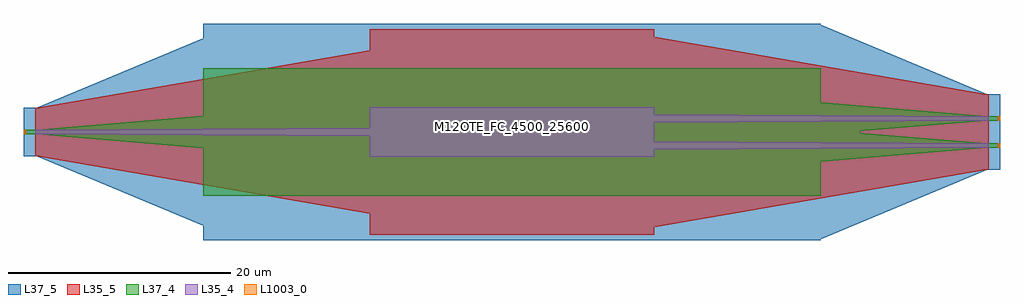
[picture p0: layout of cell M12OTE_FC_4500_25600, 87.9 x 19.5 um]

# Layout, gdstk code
import gdstk
lib = gdstk.Library(unit=1e-6, precision=1e-09)
def R(c, l, rs):  # rectangles x0, y0, x1, y1
    for r in rs: c.add(gdstk.rectangle(r[:2], r[2:], *l))
def P(c, l, *ps):  # polygons
    for p in ps: c.add(gdstk.Polygon(p, *l))
L35_4 = (35, 4)
L35_5 = (35, 5)
L37_4 = (37, 4)
L37_5 = (37, 5)
L1003_0 = (1003, 0)

m12ote_fc_4500_25600_1 = lib.new_cell('M12OTE_FC_4500_25600_1')
R(m12ote_fc_4500_25600_1, L35_4, [(0,-2.25,25.6,2.25)])
P(m12ote_fc_4500_25600_1, L35_4, [(0,-0.375),(-30,-0.19),(-30.13,-0.19),(-30.13,0.19),(-30,0.19),(0,0.375)],
  [(25.6,-1.6),(25.6,-0.85),(55.6,-1.035),(55.73,-1.035),(55.73,-1.415),(55.6,-1.415)],
  [(25.6,0.85),(25.6,1.6),(55.6,1.415),(55.73,1.415),(55.73,1.035),(55.6,1.035)])
R(m12ote_fc_4500_25600_1, L35_5, [(0,-9.25,25.6,9.25)])
P(m12ote_fc_4500_25600_1, L35_5, [(0,-7.375),(-30,-2.19),(-30.13,-2.19),(-30.13,2.19),(-30,2.19),(0,7.375)],
  [(25.6,-8.6),(25.6,6.15),(55.6,0.965),(55.73,0.965),(55.73,-3.415),(55.6,-3.415)],
  [(25.6,-6.15),(25.6,8.6),(55.6,3.415),(55.73,3.415),(55.73,-0.965),(55.6,-0.965)])
R(m12ote_fc_4500_25600_1, L37_4, [(40.47,-0.145,44.171,0.145)])
P(m12ote_fc_4500_25600_1, L37_4, [(-15,-1.45),(-30,-0.19),(-30.13,-0.19),(-30.13,0.19),(-30,0.19),(-15,1.45),(-14.87,1.45),(-14.87,-1.45)],
  [(40.47,-2.675),(40.47,0.225),(40.6,0.225),(55.6,-1.035),(55.73,-1.035),(55.73,-1.415),(55.6,-1.415),(40.6,-2.675)],
  [(40.47,-0.225),(40.47,2.675),(40.6,2.675),(55.6,1.415),(55.73,1.415),(55.73,1.035),(55.6,1.035),(40.6,-0.225)])
P(m12ote_fc_4500_25600_1, L37_5, [(-15,-8.45),(-30,-2.19),(-30.13,-2.19),(-30.13,2.19),(-30,2.19),(-15,8.45),(-14.87,8.45),(-14.87,-8.45)],
  [(40.47,-9.675),(40.47,7.225),(40.6,7.225),(55.6,0.965),(55.73,0.965),(55.73,-3.415),(55.6,-3.415),(40.6,-9.675)],
  [(40.47,-7.225),(40.47,9.675),(40.6,9.675),(55.6,3.415),(55.73,3.415),(55.73,-0.965),(55.6,-0.965),(40.6,-7.225)])

m12ote_fc_4500_25600 = lib.new_cell('M12OTE_FC_4500_25600')
R(m12ote_fc_4500_25600, L37_4, [(-15,-5.75,40.6,5.75), (55.6,-1.415,56.6,-1.035), (56.6,-1.415,56.75,-1.035), (-31.15,-0.19,-31,0.19), (-31,-0.19,-30,0.19), (55.6,1.035,56.6,1.415), (56.6,1.035,56.75,1.415)])
R(m12ote_fc_4500_25600, L37_5, [(-15,-9.75,40.6,9.75), (55.6,-3.415,56.6,0.965), (56.6,-3.415,56.75,0.965), (-31.15,-2.19,-31,2.19), (-31,-2.19,-30,2.19), (55.6,-0.965,56.6,3.415), (56.6,-0.965,56.75,3.415)])
R(m12ote_fc_4500_25600, L1003_0, [(56.55,-1.415,56.6,-1.035), (56.6,-1.415,56.75,-1.035), (-31.15,-0.19,-31,0.19), (-31,-0.19,-30.95,0.19), (56.55,1.035,56.6,1.415), (56.6,1.035,56.75,1.415)])
m12ote_fc_4500_25600.add(gdstk.Reference(m12ote_fc_4500_25600_1, (0,0)))
m12ote_fc_4500_25600.add(gdstk.Label('M12OTE_FC_4500_25600', (12.8,0.5), layer=1002, texttype=0))
m12ote_fc_4500_25600.add(gdstk.Label('ISIPP50G_2_3_0', (12.8,0), layer=1002, texttype=0))
m12ote_fc_4500_25600.add(gdstk.Label('imec_cell', (12.8,-0.5), layer=1002, texttype=0))

lib.write_gds('M12OTE_FC_4500_25600.gds')
